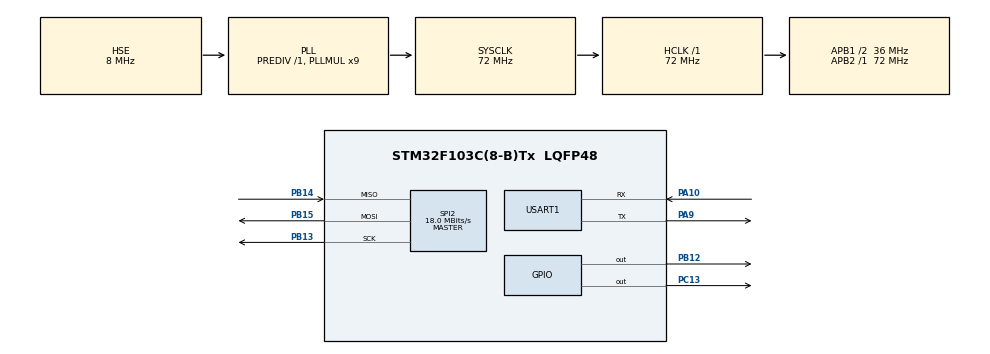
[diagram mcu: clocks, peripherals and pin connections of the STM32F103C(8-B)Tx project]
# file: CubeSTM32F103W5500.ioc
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Mcu.Family=STM32F1
Mcu.Name=STM32F103C(8-B)Tx
Mcu.Package=LQFP48
NVIC.PriorityGroup=NVIC_PRIORITYGROUP_4
PA10.Mode=Asynchronous
PA10.Signal=USART1_RX
PA13.Mode=Serial_Wire
PA13.Signal=SYS_JTMS-SWDIO
PA14.Mode=Serial_Wire
PA14.Signal=SYS_JTCK-SWCLK
PA9.Mode=Asynchronous
PA9.Signal=USART1_TX
PB12.Signal=GPIO_Output
PB13.Mode=Full_Duplex_Master
PB13.Signal=SPI2_SCK
PB14.Mode=Full_Duplex_Master
PB14.Signal=SPI2_MISO
PB15.Mode=Full_Duplex_Master
PB15.Signal=SPI2_MOSI
PC13-TAMPER-RTC.Signal=GPIO_Output
PD0-OSC_IN.Mode=HSE-External-Oscillator
PD0-OSC_IN.Signal=RCC_OSC_IN
PD1-OSC_OUT.Mode=HSE-External-Oscillator
PD1-OSC_OUT.Signal=RCC_OSC_OUT
ProjectManager.HeapSize=0x200
ProjectManager.StackSize=0x400
ProjectManager.TargetToolchain=Other Toolchains (GPDSC)
RCC.AHBFreq_Value=72000000
RCC.APB1CLKDivider=RCC_HCLK_DIV2
RCC.APB1Freq_Value=36000000
RCC.APB1TimFreq_Value=72000000
RCC.APB2Freq_Value=72000000
RCC.APB2TimFreq_Value=72000000
RCC.HCLKFreq_Value=72000000
RCC.PLLMUL=RCC_PLL_MUL9
RCC.PLLSourceVirtual=RCC_PLLSOURCE_HSE
RCC.SYSCLKFreq_VALUE=72000000
RCC.SYSCLKSource=RCC_SYSCLKSOURCE_PLLCLK
RCC.USBFreq_Value=72000000
SPI2.BaudRatePrescaler=SPI_BAUDRATEPRESCALER_2
SPI2.CalculateBaudRate=18.0 MBits/s
SPI2.Direction=SPI_DIRECTION_2LINES
SPI2.Mode=SPI_MODE_MASTER
SPI2.VirtualType=VM_MASTER
USART1.VirtualMode=VM_ASYNC
board=custom

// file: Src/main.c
/* USER CODE BEGIN Header */
/**
 ******************************************************************************
 * @file           : main.c
 * @brief          : Main program body
 ******************************************************************************
 * @attention
 *
 * <h2><center>&copy; Copyright (c) 2019 STMicroelectronics.
 * All rights reserved.</center></h2>
 *
 * This software component is licensed by ST under BSD 3-Clause license,
 * the "License"; You may not use this file except in compliance with the
 * License. You may obtain a copy of the License at:
 *                        opensource.org/licenses/BSD-3-Clause
 *
 ******************************************************************************
 */
/* USER CODE END Header */

#include "main.h"

/* USER CODE BEGIN Includes */
/* vim: set ai et ts=4 sw=4: */
#include <string.h>
#include <stdarg.h>
#include <stdbool.h>
#include <ctype.h>
#include "socket.h"
#include "dhcp.h"
#include "dns.h"
#include "mqtt_interface.h"
#include "MQTTClient.h"

/* Private includes ----------------------------------------------------------*/
/* USER CODE BEGIN Includes */

/* USER CODE END Includes */

SPI_HandleTypeDef hspi2;

UART_HandleTypeDef huart1;

void SystemClock_Config(void);
static void MX_GPIO_Init(void);
static void MX_SPI2_Init(void);
static void MX_USART1_UART_Init(void);

/* USER CODE BEGIN 0 */

#define DHCP_SOCKET     0
#define DNS_SOCKET      1
#define MQQTT_SOCKET     2

// Receive Buffer
#define BUFFER_SIZE	2048
uint8_t tempBuffer[BUFFER_SIZE];
// Global variables
uint32_t dhcp_counter;
uint8_t mqtt_push_counter;
uint8_t mqtt_flag;
uint16_t mes_id;
wiz_NetInfo net_info2;

int8_t str_printf(char *StrBuff, uint8_t BuffLen, const char *args, ...);

void messageArrived(MessageData* md);

void UART_Printf(const char* fmt, ...)
{
	char buff[256];
	va_list args;
	va_start(args, fmt);
	vsnprintf(buff, sizeof(buff), fmt, args);
	HAL_UART_Transmit(&huart1,
		(uint8_t*) buff,
		strlen(buff),
		HAL_MAX_DELAY);
	va_end(args);
}

void W5500_Select(void)
{
	HAL_GPIO_WritePin(GPIOB, GPIO_PIN_12, GPIO_PIN_RESET);
}

void W5500_Unselect(void)
{
	HAL_GPIO_WritePin(GPIOB, GPIO_PIN_12, GPIO_PIN_SET);
}

void W5500_ReadBuff(uint8_t* buff, uint16_t len)
{
	HAL_SPI_Receive(&hspi2, buff, len, HAL_MAX_DELAY);
}

void W5500_WriteBuff(uint8_t* buff, uint16_t len)
{
	HAL_SPI_Transmit(&hspi2, buff, len, HAL_MAX_DELAY);
}

uint8_t W5500_ReadByte(void)
{
	uint8_t byte;
	W5500_ReadBuff(&byte, sizeof(byte));
	return byte;
}

void W5500_WriteByte(uint8_t byte)
{
	W5500_WriteBuff(&byte, sizeof(byte));
}

volatile bool ip_assigned = false;

void Callback_IPAssigned(void)
{
	UART_Printf("Callback: IP assigned! Leased time: %d sec\r\n",
		getDHCPLeasetime());
	ip_assigned = true;
}

void Callback_IPConflict(void)
{
	UART_Printf("Callback: IP conflict!\r\n");
}

// 1K should be enough, see https://forum.wiznet.io/t/topic/1612/2
uint8_t dhcp_buffer[1024];
// 1K seems to be enough for this buffer as well
uint8_t dns_buffer[1024];

void init();

void loop()
{
	HAL_Delay(1000);
}
/* USER CODE END 0 */

int main(void)
{

  /* MCU Configuration--------------------------------------------------------*/

  /* Reset of all peripherals, Initializes the Flash interface and the Systick. */
  HAL_Init();

  /* Configure the system clock */
  SystemClock_Config();

  /* Initialize all configured peripherals */
  MX_GPIO_Init();
  MX_SPI2_Init();
  MX_USART1_UART_Init();

  /* Infinite loop */
  /* USER CODE BEGIN WHILE */
	init();
	while (1)
	{
    /* USER CODE END WHILE */

    /* USER CODE BEGIN 3 */

		// Ищем узел брокера, устанавливаем соединение с ним
		Network n;
		MQTTClient c;
		n.my_socket = 0;
		uint8_t buf[100];
		int32_t rc = 0;

		uint8_t targetIP[4] =
		{
			192,
			168,
			29,
			42
		};       // IP брокера MQTT

	// Можно определить IP узла по DNS-имени, IP узла будет в массиве targetIP
	//DNS_init(1, tempBuffer);
	//DNS_run(gWIZNETINFO.dns, "test.mosquitto.org", targetIP);

	NewNetwork(&n, MQQTT_SOCKET);
		ConnectNetwork(&n, targetIP, 1883);
		MQTTClientInit(&c, &n, 1000, buf, 100, tempBuffer, BUFFER_SIZE);

		// Подлючаемся к брокеру MQTT
		MQTTPacket_connectData data = MQTTPacket_connectData_initializer
		;
		data.willFlag = 0;
		data.MQTTVersion = 4; 	  //3;
		data.clientID.cstring = (char*) "w5500-client";
		data.username.cstring = "username";
		data.password.cstring = "";
		data.keepAliveInterval = 60;
		data.cleansession = 1;
		rc = MQTTConnect(&c, &data);
		UART_Printf("Connected %d\r\n", rc);

		// Подписываемся на топик
		char SubString[] = "/#";    //подписаться на всё
		rc = MQTTSubscribe(&c, SubString, QOS0, messageArrived);
		UART_Printf("Subscribed (%s) %d\r\n", SubString, rc);

		uint32_t count = 0;

		while (1)
		{

			// Периодическая отправка топика по MQTT
			if(mqtt_flag)
			{
				mqtt_flag = 0;

				char message[16];
				int8_t len = str_printf(message, sizeof(message), "%d.%d.%d.%d", net_info2.ip[0], net_info2.ip[1], net_info2.ip[2], net_info2.ip[3]);
				if (len > 0)
				{
					MQTTMessage pubMessage;
					pubMessage.qos = QOS0;
					pubMessage.id = mes_id++;
					pubMessage.payloadlen = len;
					pubMessage.payload = message;
					MQTTPublish(&c, "/w5500_stm32_client", &pubMessage);

					count++;
					if (count >= 10)
					{
						HAL_GPIO_TogglePin(GPIOC, GPIO_PIN_13);
						count = 0;
					}
				}

			}

			// Приём топиков и поддержание соединения с брокером
			MQTTYield(&c, 1000);
			msTick_Handler();
		}

		loop();

	}
  /* USER CODE END 3 */
}

void SystemClock_Config(void)
{
  RCC_OscInitTypeDef RCC_OscInitStruct = {0};
  RCC_ClkInitTypeDef RCC_ClkInitStruct = {0};

  /** Initializes the CPU, AHB and APB busses clocks
  */
  RCC_OscInitStruct.OscillatorType = RCC_OSCILLATORTYPE_HSE;
  RCC_OscInitStruct.HSEState = RCC_HSE_ON;
  RCC_OscInitStruct.HSEPredivValue = RCC_HSE_PREDIV_DIV1;
  RCC_OscInitStruct.HSIState = RCC_HSI_ON;
  RCC_OscInitStruct.PLL.PLLState = RCC_PLL_ON;
  RCC_OscInitStruct.PLL.PLLSource = RCC_PLLSOURCE_HSE;
  RCC_OscInitStruct.PLL.PLLMUL = RCC_PLL_MUL9;
  if (HAL_RCC_OscConfig(&RCC_OscInitStruct) != HAL_OK)
  {
    Error_Handler();
  }
  /** Initializes the CPU, AHB and APB busses clocks
  */
  RCC_ClkInitStruct.ClockType = RCC_CLOCKTYPE_HCLK|RCC_CLOCKTYPE_SYSCLK
                              |RCC_CLOCKTYPE_PCLK1|RCC_CLOCKTYPE_PCLK2;
  RCC_ClkInitStruct.SYSCLKSource = RCC_SYSCLKSOURCE_PLLCLK;
  RCC_ClkInitStruct.AHBCLKDivider = RCC_SYSCLK_DIV1;
  RCC_ClkInitStruct.APB1CLKDivider = RCC_HCLK_DIV2;
  RCC_ClkInitStruct.APB2CLKDivider = RCC_HCLK_DIV1;

  if (HAL_RCC_ClockConfig(&RCC_ClkInitStruct, FLASH_LATENCY_2) != HAL_OK)
  {
    Error_Handler();
  }
}

static void MX_SPI2_Init(void)
{

  /* SPI2 parameter configuration*/
  hspi2.Instance = SPI2;
  hspi2.Init.Mode = SPI_MODE_MASTER;
  hspi2.Init.Direction = SPI_DIRECTION_2LINES;
  hspi2.Init.DataSize = SPI_DATASIZE_8BIT;
  hspi2.Init.CLKPolarity = SPI_POLARITY_LOW;
  hspi2.Init.CLKPhase = SPI_PHASE_1EDGE;
  hspi2.Init.NSS = SPI_NSS_SOFT;
  hspi2.Init.BaudRatePrescaler = SPI_BAUDRATEPRESCALER_2;
  hspi2.Init.FirstBit = SPI_FIRSTBIT_MSB;
  hspi2.Init.TIMode = SPI_TIMODE_DISABLE;
  hspi2.Init.CRCCalculation = SPI_CRCCALCULATION_DISABLE;
  hspi2.Init.CRCPolynomial = 10;
  if (HAL_SPI_Init(&hspi2) != HAL_OK)
  {
    Error_Handler();
  }

}

static void MX_USART1_UART_Init(void)
{

  huart1.Instance = USART1;
  huart1.Init.BaudRate = 115200;
  huart1.Init.WordLength = UART_WORDLENGTH_8B;
  huart1.Init.StopBits = UART_STOPBITS_1;
  huart1.Init.Parity = UART_PARITY_NONE;
  huart1.Init.Mode = UART_MODE_TX_RX;
  huart1.Init.HwFlowCtl = UART_HWCONTROL_NONE;
  huart1.Init.OverSampling = UART_OVERSAMPLING_16;
  if (HAL_UART_Init(&huart1) != HAL_OK)
  {
    Error_Handler();
  }

}

static void MX_GPIO_Init(void)
{
  GPIO_InitTypeDef GPIO_InitStruct = {0};

  /* GPIO Ports Clock Enable */
  __HAL_RCC_GPIOC_CLK_ENABLE();
  __HAL_RCC_GPIOD_CLK_ENABLE();
  __HAL_RCC_GPIOA_CLK_ENABLE();
  __HAL_RCC_GPIOB_CLK_ENABLE();

  /*Configure GPIO pin Output Level */
  HAL_GPIO_WritePin(GPIOC, GPIO_PIN_13, GPIO_PIN_RESET);

  /*Configure GPIO pin Output Level */
  HAL_GPIO_WritePin(GPIOB, GPIO_PIN_12, GPIO_PIN_RESET);

  /*Configure GPIO pin : PC13 */
  GPIO_InitStruct.Pin = GPIO_PIN_13;
  GPIO_InitStruct.Mode = GPIO_MODE_OUTPUT_PP;
  GPIO_InitStruct.Pull = GPIO_NOPULL;
  GPIO_InitStruct.Speed = GPIO_SPEED_FREQ_LOW;
  HAL_GPIO_Init(GPIOC, &GPIO_InitStruct);

  /*Configure GPIO pins : PC14 PC15 */
  GPIO_InitStruct.Pin = GPIO_PIN_14|GPIO_PIN_15;
  GPIO_InitStruct.Mode = GPIO_MODE_ANALOG;
  HAL_GPIO_Init(GPIOC, &GPIO_InitStruct);

  /*Configure GPIO pins : PA0 PA1 PA2 PA3
                           PA4 PA5 PA6 PA7
                           PA8 PA11 PA12 PA15 */
  GPIO_InitStruct.Pin = GPIO_PIN_0|GPIO_PIN_1|GPIO_PIN_2|GPIO_PIN_3
                          |GPIO_PIN_4|GPIO_PIN_5|GPIO_PIN_6|GPIO_PIN_7
                          |GPIO_PIN_8|GPIO_PIN_11|GPIO_PIN_12|GPIO_PIN_15;
  GPIO_InitStruct.Mode = GPIO_MODE_ANALOG;
  HAL_GPIO_Init(GPIOA, &GPIO_InitStruct);

  /*Configure GPIO pins : PB0 PB1 PB2 PB10
                           PB11 PB3 PB4 PB5
                           PB6 PB7 PB8 PB9 */
  GPIO_InitStruct.Pin = GPIO_PIN_0|GPIO_PIN_1|GPIO_PIN_2|GPIO_PIN_10
                          |GPIO_PIN_11|GPIO_PIN_3|GPIO_PIN_4|GPIO_PIN_5
                          |GPIO_PIN_6|GPIO_PIN_7|GPIO_PIN_8|GPIO_PIN_9;
  GPIO_InitStruct.Mode = GPIO_MODE_ANALOG;
  HAL_GPIO_Init(GPIOB, &GPIO_InitStruct);

  /*Configure GPIO pin : PB12 */
  GPIO_InitStruct.Pin = GPIO_PIN_12;
  GPIO_InitStruct.Mode = GPIO_MODE_OUTPUT_PP;
  GPIO_InitStruct.Pull = GPIO_NOPULL;
  GPIO_InitStruct.Speed = GPIO_SPEED_FREQ_LOW;
  HAL_GPIO_Init(GPIOB, &GPIO_InitStruct);

}

/* USER CODE BEGIN 4 */

//==============================================================================
// Обработчик прерывания от таймера (период = 1 мс)
//==============================================================================
void msTick_Handler(void)
{
	MilliTimer_Handler();

	if (++dhcp_counter >= 500)  // 1000 - секунда //25максимум скорости

		{
			dhcp_counter = 0;
			DHCP_time_handler();  // Функция для обработки тайм-аутов DHCP

			if(++mqtt_push_counter >= 10)  // Каждые 10 секунд
			{
				mqtt_push_counter = 0;
				mqtt_flag = 1;
			}
		}
}

//==============================================================================
// Обработчик сообщений MQTT, удовлетворяющих подпискам клиента
//==============================================================================
void messageArrived(MessageData* md)
{
	MQTTMessage* message = md->message;

	for (uint8_t i = 0; i < md->topicName->lenstring.len; i++)
		putchar(*(md->topicName->lenstring.data + i));

	UART_Printf(" (%.*s)\r\n",
		(int32_t) message->payloadlen,
		(char*) message->payload);
}

//==============================================================================
//==============================================================================
// Функция записывает форматированную строку в буфер StrBuff
//==============================================================================
int8_t str_printf(char *StrBuff, uint8_t BuffLen, const char *args, ...)
{
	va_list ap;
	va_start(ap, args);
	int8_t len = vsnprintf(StrBuff, BuffLen, args, ap);
	va_end(ap);
	return len;
}
//==============================================================================

void init()
{
	UART_Printf("\r\ninit() called!\r\n");

	UART_Printf("Registering W5500 callbacks...\r\n");
	reg_wizchip_cs_cbfunc(W5500_Select, W5500_Unselect);
	reg_wizchip_spi_cbfunc(W5500_ReadByte, W5500_WriteByte);
	reg_wizchip_spiburst_cbfunc(W5500_ReadBuff, W5500_WriteBuff);

	UART_Printf("Calling wizchip_init()...\r\n");
	uint8_t rx_tx_buff_sizes[] =
	{
		2,
		2,
		2,
		2,
		2,
		2,
		2,
		2
	};
	wizchip_init(rx_tx_buff_sizes, rx_tx_buff_sizes);

	UART_Printf("Calling DHCP_init()...\r\n");
	wiz_NetInfo net_info =
	{
		.mac = {
		0xEA,
		0x11,
		0x22,
		0x33,
		0x44,
		0xEA
	},
		.dhcp = NETINFO_DHCP
	};
	// set MAC address before using DHCP
	setSHAR(net_info.mac);
	DHCP_init(DHCP_SOCKET, dhcp_buffer);

	UART_Printf("Registering DHCP callbacks...\r\n");
	reg_dhcp_cbfunc(Callback_IPAssigned,
		Callback_IPAssigned,
		Callback_IPConflict);

	UART_Printf("Calling DHCP_run()...\r\n");
	// actually should be called in a loop, e.g. by timer
	uint32_t ctr = 100000;
	while ((!ip_assigned) && (ctr > 0))
	{
		DHCP_run();
		ctr--;
	}
	if (!ip_assigned)
	{
		UART_Printf("\r\nIP was not assigned :(\r\n");
		return;
	}

	getIPfromDHCP(net_info.ip);
	getGWfromDHCP(net_info.gw);
	getSNfromDHCP(net_info.sn);

	uint8_t dns[4];
	getDNSfromDHCP(dns);

	UART_Printf(
		"IP:  %d.%d.%d.%d\r\nGW:  %d.%d.%d.%d\r\nNet: %d.%d.%d.%d\r\nDNS: %d.%d.%d.%d\r\n",
		net_info.ip[0],
		net_info.ip[1],
		net_info.ip[2],
		net_info.ip[3],
		net_info.gw[0],
		net_info.gw[1],
		net_info.gw[2],
		net_info.gw[3],
		net_info.sn[0],
		net_info.sn[1],
		net_info.sn[2],
		net_info.sn[3],
		dns[0],
		dns[1],
		dns[2],
		dns[3]);

	UART_Printf("Calling wizchip_setnetinfo()...\r\n");
	wizchip_setnetinfo(&net_info);

	UART_Printf("Calling DNS_init()...\r\n");
	DNS_init(DNS_SOCKET, dns_buffer);

	/*    uint8_t addr[4];
	 {
	 char domain_name[] = "eax.me";
	 UART_Printf("Resolving domain name \"%s\"...\r\n", domain_name);
	 int8_t res = DNS_run(dns, (uint8_t*) &domain_name, addr);
	 if (res != 1)
	 {
	 UART_Printf("DNS_run() failed, res = %d", res);
	 return;
	 }
	 UART_Printf("Result: %d.%d.%d.%d\r\n", addr[0], addr[1], addr[2],
	 addr[3]);
	 }

	 UART_Printf("Creating socket...\r\n");
	 uint8_t http_socket = HTTP_SOCKET;
	 uint8_t code = socket(http_socket, Sn_MR_TCP, 10888, 0);
	 if (code != http_socket)
	 {
	 UART_Printf("socket() failed, code = %d\r\n", code);
	 return;
	 }

	 UART_Printf("Socket created, connecting...\r\n");
	 code = connect(http_socket, addr, 80);
	 if (code != SOCK_OK)
	 {
	 UART_Printf("connect() failed, code = %d\r\n", code);
	 close(http_socket);
	 return;
	 }

	 UART_Printf("Connected, sending HTTP request...\r\n");
	 {
	 char req[] = "GET / HTTP/1.0\r\nHost: eax.me\r\n\r\n";
	 uint16_t len = sizeof(req) - 1;
	 uint8_t* buff = (uint8_t*) &req;
	 while (len > 0)
	 {
	 UART_Printf("Sending %d bytes...\r\n", len);
	 int32_t nbytes = send(http_socket, buff, len);
	 if (nbytes <= 0)
	 {
	 UART_Printf("send() failed, %d returned\r\n", nbytes);
	 close(http_socket);
	 return;
	 }
	 UART_Printf("%d bytes sent!\r\n", nbytes);
	 len -= nbytes;
	 }
	 }

	 UART_Printf("Request sent. Reading response...\r\n");
	 {
	 char buff[32];
	 for (;;)
	 {
	 int32_t nbytes = recv(http_socket, (uint8_t*) &buff,
	 sizeof(buff) - 1);
	 if (nbytes == SOCKERR_SOCKSTATUS)
	 {
	 UART_Printf("\r\nConnection closed.\r\n");
	 break;
	 }

	 if (nbytes <= 0)
	 {
	 UART_Printf("\r\nrecv() failed, %d returned\r\n", nbytes);
	 break;
	 }

	 buff[nbytes] = '\0';
	 UART_Printf("%s", buff);
	 }
	 }*

	 UART_Printf("Closing socket.\r\n");
	 close(http_socket);*/
}

/* USER CODE END 4 */

void Error_Handler(void)
{
}

/************************ (C) COPYRIGHT STMicroelectronics *****END OF FILE****/
